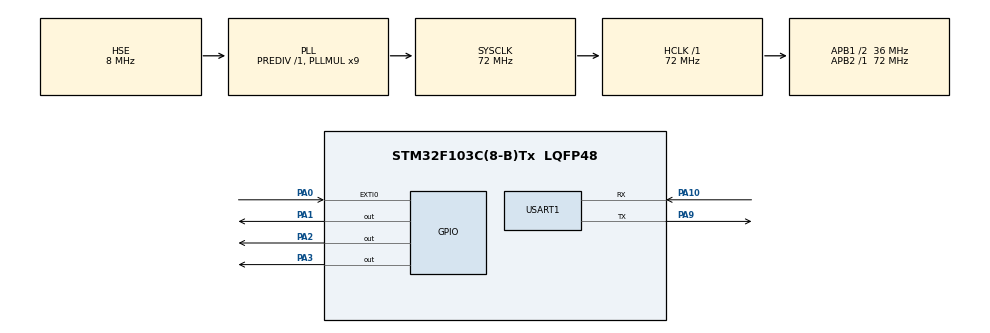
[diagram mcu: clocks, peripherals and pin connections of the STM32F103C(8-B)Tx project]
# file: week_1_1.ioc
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Mcu.Family=STM32F1
Mcu.Name=STM32F103C(8-B)Tx
Mcu.Package=LQFP48
NVIC.EXTI0_IRQn=true\:0\:0\:false\:false\:true\:true\:true\:true
NVIC.PriorityGroup=NVIC_PRIORITYGROUP_4
NVIC.USART1_IRQn=true\:0\:0\:false\:false\:true\:true\:true\:true
PA0-WKUP.GPIO_PuPd=GPIO_PULLDOWN
PA0-WKUP.Signal=GPXTI0
PA1.GPIO_Speed=GPIO_SPEED_FREQ_LOW
PA1.PinState=GPIO_PIN_SET
PA1.Signal=GPIO_Output
PA10.Mode=Asynchronous
PA10.Signal=USART1_RX
PA13.Mode=Serial_Wire
PA13.Signal=SYS_JTMS-SWDIO
PA14.Mode=Serial_Wire
PA14.Signal=SYS_JTCK-SWCLK
PA2.PinState=GPIO_PIN_SET
PA2.Signal=GPIO_Output
PA3.PinState=GPIO_PIN_SET
PA3.Signal=GPIO_Output
PA9.Mode=Asynchronous
PA9.Signal=USART1_TX
PC14-OSC32_IN.Mode=LSE-External-Oscillator
PC14-OSC32_IN.Signal=RCC_OSC32_IN
PC15-OSC32_OUT.Mode=LSE-External-Oscillator
PC15-OSC32_OUT.Signal=RCC_OSC32_OUT
PD0-OSC_IN.Mode=HSE-External-Oscillator
PD0-OSC_IN.Signal=RCC_OSC_IN
PD1-OSC_OUT.Mode=HSE-External-Oscillator
PD1-OSC_OUT.Signal=RCC_OSC_OUT
ProjectManager.HeapSize=0x200
ProjectManager.StackSize=0x400
ProjectManager.TargetToolchain=MDK-ARM V5.32
RCC.AHBFreq_Value=72000000
RCC.APB1CLKDivider=RCC_HCLK_DIV2
RCC.APB1Freq_Value=36000000
RCC.APB1TimFreq_Value=72000000
RCC.APB2Freq_Value=72000000
RCC.APB2TimFreq_Value=72000000
RCC.HCLKFreq_Value=72000000
RCC.PLLMUL=RCC_PLL_MUL9
RCC.PLLSourceVirtual=RCC_PLLSOURCE_HSE
RCC.SYSCLKFreq_VALUE=72000000
RCC.SYSCLKSource=RCC_SYSCLKSOURCE_PLLCLK
RCC.USBFreq_Value=72000000
USART1.VirtualMode=VM_ASYNC
board=custom

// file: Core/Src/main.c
/* USER CODE BEGIN Header */
/**
  ******************************************************************************
  * @file           : main.c
  * @brief          : Main program body
  ******************************************************************************
  * @attention
  *
  * Copyright (c) 2026 STMicroelectronics.
  * All rights reserved.
  *
  * This software is licensed under terms that can be found in the LICENSE file
  * in the root directory of this software component.
  * If no LICENSE file comes with this software, it is provided AS-IS.
  *
  ******************************************************************************
  */
/* USER CODE END Header */
#include "main.h"
#include "usart.h"
#include "gpio.h"

/* USER CODE BEGIN Includes */

#include "string.h"
#include "stdio.h"
/* USER CODE END Includes */

/* USER CODE BEGIN PV */

uint8_t rx_byte;
volatile uint8_t rx_flag=0;//电脑记号
volatile uint8_t btn_flag=0;//按键记号
volatile uint32_t led1_off=0;//pa1 该在几毫秒灭（按键控制）
volatile uint32_t led2_off=0;//pa2 该在几毫秒灭（电脑串口控制）

/* USER CODE END PV */

void SystemClock_Config(void);
/* USER CODE BEGIN PFP */

//申明函数
void led_on(GPIO_TypeDef *port,uint16_t pin);
void led_off(GPIO_TypeDef *port,uint16_t pin);
void timer_start(volatile uint32_t *deadline,uint32_t ms);
uint8_t timer_expired(volatile uint32_t *deadline);
void uart_send(const char *text);
void uart_echo(uint8_t ch);
void HAL_UART_RxCpltCallback(UART_HandleTypeDef *huart);
void HAL_GPIO_EXTI_Callback(uint16_t gpio_pin);

/* USER CODE END PFP */

int main(void)
{

  /* MCU Configuration--------------------------------------------------------*/

  /* Reset of all peripherals, Initializes the Flash interface and the Systick. */
  HAL_Init();

  /* Configure the system clock */
  SystemClock_Config();

  /* Initialize all configured peripherals */
  MX_GPIO_Init();
  MX_USART1_UART_Init();
  /* USER CODE BEGIN 2 */

//第一次唤醒中断
		HAL_UART_Receive_IT(&huart1,&rx_byte,1);

  /* USER CODE END 2 */

  /* Infinite loop */
  /* USER CODE BEGIN WHILE */
  while (1)
  {
		//电脑发来数据的后续操作
		if(rx_flag==1)
		{
			uint8_t ch = rx_byte;
			rx_flag = 0;

			led_on(GPIOA,GPIO_PIN_2);
			timer_start(&led2_off,1000);
			uart_echo(ch);
		}
		//按键后续操作
		if(btn_flag == 1)
		{
			btn_flag = 0;
			led_on(GPIOA,GPIO_PIN_1);
			timer_start(&led1_off,1000);
			uart_send("button pressed\r\n");
		}
		//灭灯，两个一起查一次，查到哪个灭哪个
		if(timer_expired(&led1_off))
		{
			led_off(GPIOA,GPIO_PIN_1);
		}
		if(timer_expired(&led2_off))
		{
			led_off(GPIOA,GPIO_PIN_2);
		}
		HAL_Delay(10);

    /* USER CODE END WHILE */

  }
}

void SystemClock_Config(void)
{
  RCC_OscInitTypeDef RCC_OscInitStruct = {0};
  RCC_ClkInitTypeDef RCC_ClkInitStruct = {0};

  /** Initializes the RCC Oscillators according to the specified parameters
  * in the RCC_OscInitTypeDef structure.
  */
  RCC_OscInitStruct.OscillatorType = RCC_OSCILLATORTYPE_HSE;
  RCC_OscInitStruct.HSEState = RCC_HSE_ON;
  RCC_OscInitStruct.HSEPredivValue = RCC_HSE_PREDIV_DIV1;
  RCC_OscInitStruct.HSIState = RCC_HSI_ON;
  RCC_OscInitStruct.PLL.PLLState = RCC_PLL_ON;
  RCC_OscInitStruct.PLL.PLLSource = RCC_PLLSOURCE_HSE;
  RCC_OscInitStruct.PLL.PLLMUL = RCC_PLL_MUL9;
  if (HAL_RCC_OscConfig(&RCC_OscInitStruct) != HAL_OK)
  {
    Error_Handler();
  }

  /** Initializes the CPU, AHB and APB buses clocks
  */
  RCC_ClkInitStruct.ClockType = RCC_CLOCKTYPE_HCLK|RCC_CLOCKTYPE_SYSCLK
                              |RCC_CLOCKTYPE_PCLK1|RCC_CLOCKTYPE_PCLK2;
  RCC_ClkInitStruct.SYSCLKSource = RCC_SYSCLKSOURCE_PLLCLK;
  RCC_ClkInitStruct.AHBCLKDivider = RCC_SYSCLK_DIV1;
  RCC_ClkInitStruct.APB1CLKDivider = RCC_HCLK_DIV2;
  RCC_ClkInitStruct.APB2CLKDivider = RCC_HCLK_DIV1;

  if (HAL_RCC_ClockConfig(&RCC_ClkInitStruct, FLASH_LATENCY_2) != HAL_OK)
  {
    Error_Handler();
  }
}

/* USER CODE BEGIN 4 */

//函数本体书写区域
//printf重写
int fputc(int ch,FILE *f)
{
	HAL_UART_Transmit(&huart1,(uint8_t *)&ch,1,HAL_MAX_DELAY);
	return ch;
}

//开灯函数（共阳极，低电平亮）
void led_on(GPIO_TypeDef *port,uint16_t pin)
{
	HAL_GPIO_WritePin(port,pin,GPIO_PIN_RESET);
}
//关灯，高电平灭
void led_off(GPIO_TypeDef *port,uint16_t pin)
{
	HAL_GPIO_WritePin(port,pin,GPIO_PIN_SET);
}
//计时：登记“现在”+“要计数到的时间”，从现在的时间开始计时不是从0也不是倒计时，没有返回的值，是吧赋的值直接给变量地址了无需传回，还在原地址
void timer_start(volatile uint32_t *deadline,uint32_t ms)
{
	*deadline = HAL_GetTick()+ms;
}
//计时，时间计时到1清零，防止0的重复多一毫秒,利用while（1）循环来循环，所以只if，用for的话会阻塞
uint8_t timer_expired(volatile uint32_t *deadline)
{
    if (*deadline != 0 && HAL_GetTick() >= *deadline)
    {
        *deadline = 0;
        return 1;
    }
    return 0;
}
//发送固定文字用于案件的显示
void uart_send(const char *text)
{
	printf("%s",text);
}
//回显一个字节，+换行，用于电脑发送来的数据
void uart_echo(uint8_t ch)
{
	uint8_t crlf[2]={'\r','\n'};
	HAL_UART_Transmit(&huart1,&ch,1,HAL_MAX_DELAY);
	HAL_UART_Transmit(&huart1,crlf,2,HAL_MAX_DELAY);
}
//中断，串口的接受加回调，然后续上唤醒
void HAL_UART_RxCpltCallback(UART_HandleTypeDef *huart)
{
	if(huart->Instance == USART1)
	{
		rx_flag=1;
		HAL_UART_Receive_IT(&huart1,&rx_byte,1);
	}
}
//中断，按键的回调，加发送一个数据，然后续上唤醒
void HAL_GPIO_EXTI_Callback(uint16_t gpio_pin)
{
	if(gpio_pin == GPIO_PIN_0)
	{
		btn_flag=1;
	}
}

/* USER CODE END 4 */

void Error_Handler(void)
{
  __disable_irq();
  while (1)
  {
  }
}
